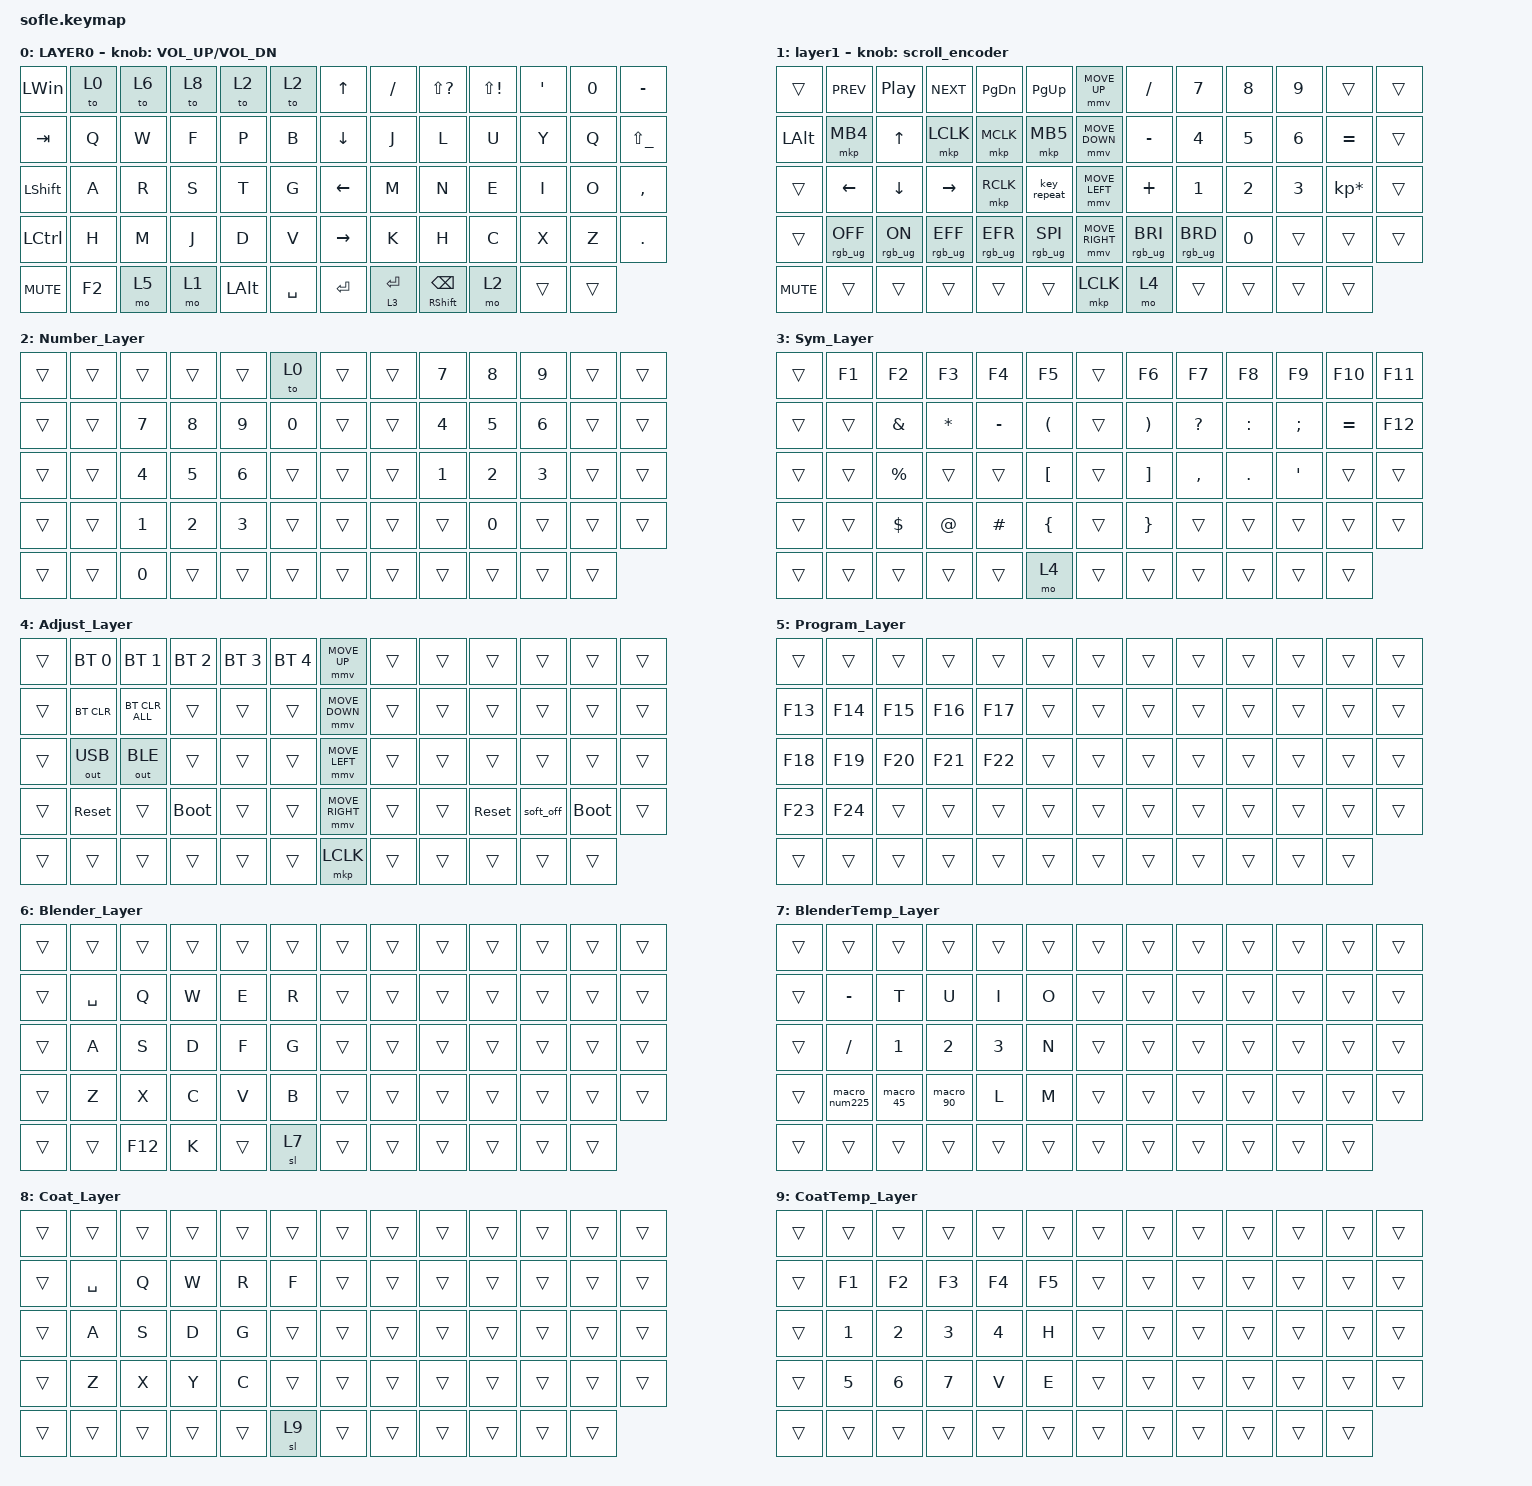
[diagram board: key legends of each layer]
#include <behaviors/mouse_keys.dtsi>
#include <behaviors.dtsi>
#include <dt-bindings/zmk/bt.h>
#include <dt-bindings/zmk/keys.h>
#include <dt-bindings/zmk/mouse.h>
#include <dt-bindings/zmk/outputs.h>
#include <dt-bindings/zmk/rgb.h>

#define ZMK_MOUSE_DEFAULT_MOVE_VAL 1200  // 600
#define ZMK_MOUSE_DEFAULT_SCRL_VAL 20    // 10
#define U_MS_U &mmv MOVE_UP
#define U_MS_D &mmv MOVE_DOWN
#define U_MS_L &mmv MOVE_LEFT
#define U_MS_R &mmv MOVE_RIGHT
#define ZMK_MOUSE_DEFAULT_MOVE_VAL 1200  //  600
#define ZMK_MOUSE_DEFAULT_SCRL_VAL 20    // 10

&sl { /delete-property/ quick-release; };

/ {
    behaviors {
        mmv {
            acceleration-exponent = <1>;      // 1
            time-to-max-speed-ms = <900>;    // 40
            delay-ms = <0>;                   // 0
        };

        msc {
            acceleration-exponent = <1>;      // 0
            time-to-max-speed-ms = <400>;      // 500
            delay-ms = <0>;                   //   10
        };
    };

    scroll_encoder: scroll_encoder {
        compatible = "zmk,behavior-sensor-rotate";
        #sensor-binding-cells = <0>;
        bindings = <&msc SCRL_DOWN>, <&msc SCRL_UP>;

        tap-ms = <30>;
    };

    ct_CustomTap: ct_CustomTap {
        compatible = "zmk,behavior-hold-tap";
        label = "CT_CUSTOMTAP";
        bindings = <&kp>, <&kp>;

        #binding-cells = <2>;
        tapping-term-ms = <200>;
        quick-tap-ms = <150>;
        require-prior-idle-ms = <100>;
        flavor = "balanced";
    };

    combos {
        compatible = "zmk,combos";

        combo_escape {
            bindings = <&kp ESCAPE>;
            key-positions = <14 15>;
            timeout-ms = <35>;
        };

        combo_bkspc {
            bindings = <&kp BACKSPACE>;
            key-positions = <16 17>;
            timeout-ms = <35>;
        };

        combo_ctrlbkspc {
            bindings = <&macro_ctrlbkspc>;
            key-positions = <16 15>;
            timeout-ms = <35>;
        };

        combo_delete {
            bindings = <&kp DELETE>;
            key-positions = <18 17>;
            timeout-ms = <35>;
        };

        combo_ctrlz {
            bindings = <&macro_ctrlz>;
            key-positions = <40 39>;
            timeout-ms = <35>;
        };

        combo_ctrlx {
            bindings = <&macro_ctrlx>;
            key-positions = <41 40>;
            timeout-ms = <35>;
        };

        combo_ctrlc {
            bindings = <&macro_ctrlc>;
            key-positions = <42 41>;
            timeout-ms = <35>;
        };

        combo_ctrlv {
            bindings = <&macro_ctrlv>;
            key-positions = <42 40>;
            timeout-ms = <35>;
        };

        combo_ctrlshftz {
            bindings = <&macro_ctrlshftz>;
            key-positions = <40 57 39>;
            timeout-ms = <35>;
        };

        combo_ctrlshftc {
            bindings = <&macro_ctrlshftc>;
            key-positions = <42 57 41>;
            timeout-ms = <35>;
        };

        combo_ctrlshftv {
            bindings = <&macro_ctrlshftv>;
            key-positions = <57 40 42>;
            timeout-ms = <35>;
        };

        combo_pauseprint {
            bindings = <&kp PAUSE_BREAK>;
            key-positions = <29 18>;
            timeout-ms = <35>;
        };

        combo_comma {
            bindings = <&kp COMMA>;
            key-positions = <34 35>;
            timeout-ms = <35>;
        };

        combo_fullstop {
            bindings = <&kp PERIOD>;
            key-positions = <35 36>;
            timeout-ms = <35>;
        };

        combo_dash {
            bindings = <&kp MINUS>;
            key-positions = <48 49>;
            timeout-ms = <35>;
        };

        combo_underscore {
            bindings = <&kp UNDER>;
            key-positions = <47 49>;
            timeout-ms = <35>;
        };

        combo_colon {
            bindings = <&kp COLON>;
            key-positions = <34 36>;
            timeout-ms = <35>;
        };

        combo_ctrlo {
            bindings = <&macro_ctrlo>;
            key-positions = <39 31>;
            timeout-ms = <35>;
        };

        combo_ctrln {
            bindings = <&macro_ctrln>;
            key-positions = <39 18>;
        };

        combo_return {
            bindings = <&kp RETURN>;
            key-positions = <31 29>;
            timeout-ms = <35>;
        };

        combo_newwindow {
            bindings = <&macro_newwindow>;
            key-positions = <14 18>;
            timeout-ms = <35>;
        };
    };

    macros {
        macro_ctrlz: macro_ctrlz {
            compatible = "zmk,behavior-macro";
            #binding-cells = <0>;
            bindings =
                <&macro_press>,
                <&kp LCTRL>,
                <&macro_tap>,
                <&kp Z>,
                <&macro_release>,
                <&kp LCTRL>;

            label = "MACRO_CTRLZ";
        };

        macro_ctrlx: macro_ctrlx {
            compatible = "zmk,behavior-macro";
            #binding-cells = <0>;
            bindings =
                <&macro_press>,
                <&kp LCTRL>,
                <&macro_tap>,
                <&kp X>,
                <&macro_release>,
                <&kp LCTRL>;

            label = "MACRO_CTRLX";
        };

        macro_ctrlc: macro_ctrlc {
            compatible = "zmk,behavior-macro";
            #binding-cells = <0>;
            bindings =
                <&macro_press>,
                <&kp LCTRL>,
                <&macro_tap>,
                <&kp C>,
                <&macro_release>,
                <&kp LCTRL>;

            label = "MACRO_CTRLC";
        };

        macro_ctrlv: macro_ctrlv {
            compatible = "zmk,behavior-macro";
            #binding-cells = <0>;
            bindings =
                <&macro_press>,
                <&kp LCTRL>,
                <&macro_tap>,
                <&kp V>,
                <&macro_release>,
                <&kp LCTRL>;

            label = "MACRO_CTRLV";
        };

        macro_ctrlshftz: macro_ctrlshftz {
            compatible = "zmk,behavior-macro";
            #binding-cells = <0>;
            bindings =
                <&macro_press>,
                <&kp LCTRL>,
                <&macro_press>,
                <&kp LEFT_SHIFT>,
                <&macro_tap>,
                <&kp Z>,
                <&macro_release>,
                <&kp LEFT_SHIFT>,
                <&macro_release>,
                <&kp LCTRL>;

            label = "MACRO_CTRLSHFTZ";
        };

        macro_ctrlshftc: macro_ctrlshftc {
            compatible = "zmk,behavior-macro";
            #binding-cells = <0>;
            bindings =
                <&macro_press>,
                <&kp LCTRL>,
                <&macro_press>,
                <&kp LEFT_SHIFT>,
                <&macro_tap>,
                <&kp C>,
                <&macro_release>,
                <&kp LEFT_SHIFT>,
                <&macro_release>,
                <&kp LCTRL>;

            label = "MACRO_CTRLSHFTC";
        };

        macro_ctrlshftv: macro_ctrlshftv {
            compatible = "zmk,behavior-macro";
            #binding-cells = <0>;
            bindings =
                <&macro_press>,
                <&kp LCTRL>,
                <&macro_press>,
                <&kp LEFT_SHIFT>,
                <&macro_tap>,
                <&kp V>,
                <&macro_release>,
                <&kp LEFT_SHIFT>,
                <&macro_release>,
                <&kp LCTRL>;

            label = "MACRO_CTRLSHFTV";
        };

        macro_ctrlj: macro_ctrlj {
            compatible = "zmk,behavior-macro";
            #binding-cells = <0>;
            bindings =
                <&macro_press>,
                <&kp LCTRL>,
                <&macro_tap>,
                <&kp J>,
                <&macro_release>,
                <&kp LCTRL>;

            label = "MACRO_CTRLJ";
        };

        macro_ctrlo: macro_ctrlo {
            compatible = "zmk,behavior-macro";
            #binding-cells = <0>;
            bindings =
                <&macro_press>,
                <&kp LCTRL>,
                <&macro_tap>,
                <&kp O>,
                <&macro_release>,
                <&kp LCTRL>;

            label = "MACRO_CTRLO";
        };

        macro_ctrln: macro_ctrln {
            compatible = "zmk,behavior-macro";
            #binding-cells = <0>;
            bindings =
                <&macro_press>,
                <&kp LCTRL>,
                <&macro_tap>,
                <&kp N>,
                <&macro_release>,
                <&kp LCTRL>;

            label = "MACRO_CTRLN";
        };

        macro_ctrlbkspc: macro_ctrlbkspc {
            compatible = "zmk,behavior-macro";
            #binding-cells = <0>;
            bindings =
                <&macro_press>,
                <&kp LCTRL>,
                <&macro_tap>,
                <&kp BACKSPACE>,
                <&macro_release>,
                <&kp LCTRL>;

            label = "MACRO_CTRLBKSPC";
        };

        macro_num225: macro_num225 {
            compatible = "zmk,behavior-macro";
            #binding-cells = <0>;
            bindings = <&kp N2 &kp N2 &kp DOT &kp N5>;
            label = "MACRO_NUM225";
        };

        macro_45: macro_45 {
            compatible = "zmk,behavior-macro";
            #binding-cells = <0>;
            bindings = <&kp N4 &kp N5>;
            label = "MACRO_45";
        };

        macro_90: macro_90 {
            compatible = "zmk,behavior-macro";
            #binding-cells = <0>;
            bindings = <&kp N9 &kp N0>;
            label = "MACRO_90";
        };

        macro_newwindow: macro_newwindow {
            compatible = "zmk,behavior-macro";
            #binding-cells = <0>;
            bindings =
                <&macro_press>,
                <&kp LEFT_WIN>,
                <&macro_tap>,
                <&kp E>,
                <&macro_release>,
                <&kp LEFT_WIN>;

            label = "MACRO_NEWWINDOW";
        };
    };

    keymap {
        compatible = "zmk,keymap";

        Base_Layer {
            bindings = <
&kp LEFT_WIN  &to 0   &to 6  &to 8  &to 2     &to 2        &kp UP_ARROW     &kp FSLH     &kp LS(QMARK)                   &kp LS(EXCL)  &kp SQT  &kp N0  &kp MINUS
&kp TAB       &kp Q   &kp W  &kp F  &kp P     &kp B        &kp DOWN_ARROW   &kp J        &kp L                           &kp U         &kp Y    &kp Q   &kp LS(UNDER)
&kp LSHFT     &kp A   &kp R  &kp S  &kp T     &kp G        &kp LEFT_ARROW   &kp M        &kp N                           &kp E         &kp I    &kp O   &kp COMMA
&kp LCTRL     &kp H   &kp M  &kp J  &kp D     &kp V        &kp RIGHT_ARROW  &kp K        &kp H                           &kp C         &kp X    &kp Z   &kp DOT
&kp C_MUTE    &kp F2  &mo 5  &mo 1  &kp LALT  &kp SPACE    &kp ENTER        &lt 3 ENTER  &ct_CustomTap RSHIFT BACKSPACE  &mo 2         &trans   &trans
            >;

            sensor-bindings = <&inc_dec_kp C_VOLUME_UP C_VOL_DN>;
            display-name = "LAYER0";
        };

        Mouse_Layer {
            bindings = <
&trans        &kp C_PREV       &kp C_PLAY_PAUSE  &kp C_NEXT       &kp PG_DN        &kp PG_UP          &mmv MOVE_UP     &kp SLASH        &kp N7           &kp N8        &kp N9        &trans           &trans
&kp LEFT_ALT  &mkp MB4         &kp UP_ARROW      &mkp LCLK        &mkp MCLK        &mkp MB5           &mmv MOVE_DOWN   &kp MINUS        &kp NUMBER_4     &kp N5        &kp NUMBER_6  &kp EQUAL        &trans
&trans        &kp LEFT         &kp DOWN_ARROW    &kp RIGHT        &mkp RCLK        &key_repeat        &mmv MOVE_LEFT   &kp PLUS         &kp NUMBER_1     &kp NUMBER_2  &kp NUMBER_3  &kp KP_ASTERISK  &trans
&trans        &rgb_ug RGB_OFF  &rgb_ug RGB_ON    &rgb_ug RGB_EFF  &rgb_ug RGB_EFR  &rgb_ug RGB_SPI    &mmv MOVE_RIGHT  &rgb_ug RGB_BRI  &rgb_ug RGB_BRD  &kp N0        &trans        &trans           &trans
&kp C_MUTE    &trans           &trans            &trans           &trans           &trans             &mkp LCLK        &mo 4            &trans           &trans        &trans        &trans
            >;

            display-name = "layer1";
            sensor-bindings = <&scroll_encoder>;
        };

        Number_Layer {
            bindings = <
&trans  &trans  &trans  &trans  &trans  &to 0     &trans  &trans  &kp N7  &kp N8  &kp N9  &trans  &trans
&trans  &trans  &kp N7  &kp N8  &kp N9  &kp N0    &trans  &trans  &kp N4  &kp N5  &kp N6  &trans  &trans
&trans  &trans  &kp N4  &kp N5  &kp N6  &trans    &trans  &trans  &kp N1  &kp N2  &kp N3  &trans  &trans
&trans  &trans  &kp N1  &kp N2  &kp N3  &trans    &trans  &trans  &trans  &kp N0  &trans  &trans  &trans
&trans  &trans  &kp N0  &trans  &trans  &trans    &trans  &trans  &trans  &trans  &trans  &trans
            >;
        };

        Sym_Layer {
            bindings = <
&trans  &kp F1  &kp F2         &kp F3     &kp F4     &kp F5                  &trans  &kp F6                 &kp F7        &kp F8     &kp F9    &kp F10    &kp F11
&trans  &trans  &kp AMPERSAND  &kp ASTRK  &kp MINUS  &kp LEFT_PARENTHESIS    &trans  &kp RIGHT_PARENTHESIS  &kp QUESTION  &kp COLON  &kp SEMI  &kp EQUAL  &kp F12
&trans  &trans  &kp PRCNT      &trans     &trans     &kp LEFT_BRACKET        &trans  &kp RIGHT_BRACKET      &kp COMMA     &kp DOT    &kp SQT   &trans     &trans
&trans  &trans  &kp DOLLAR     &kp AT     &kp POUND  &kp LEFT_BRACE          &trans  &kp RIGHT_BRACE        &trans        &trans     &trans    &trans     &trans
&trans  &trans  &trans         &trans     &trans     &mo 4                   &trans  &trans                 &trans        &trans     &trans    &trans
            >;
        };

        Adjust_Layer {
            bindings = <
&trans  &bt BT_SEL 0  &bt BT_SEL 1    &bt BT_SEL 2  &bt BT_SEL 3  &bt BT_SEL 4    &mmv MOVE_UP     &trans  &trans  &trans      &trans     &trans       &trans
&trans  &bt BT_CLR    &bt BT_CLR_ALL  &trans        &trans        &trans          &mmv MOVE_DOWN   &trans  &trans  &trans      &trans     &trans       &trans
&trans  &out OUT_USB  &out OUT_BLE    &trans        &trans        &trans          &mmv MOVE_LEFT   &trans  &trans  &trans      &trans     &trans       &trans
&trans  &sys_reset    &trans          &bootloader   &trans        &trans          &mmv MOVE_RIGHT  &trans  &trans  &sys_reset  &soft_off  &bootloader  &trans
&trans  &trans        &trans          &trans        &trans        &trans          &mkp LCLK        &trans  &trans  &trans      &trans     &trans
            >;
        };

        Program_Layer {
            bindings = <
&trans   &trans   &trans   &trans   &trans   &trans    &trans  &trans  &trans  &trans  &trans  &trans  &trans
&kp F13  &kp F14  &kp F15  &kp F16  &kp F17  &trans    &trans  &trans  &trans  &trans  &trans  &trans  &trans
&kp F18  &kp F19  &kp F20  &kp F21  &kp F22  &trans    &trans  &trans  &trans  &trans  &trans  &trans  &trans
&kp F23  &kp F24  &trans   &trans   &trans   &trans    &trans  &trans  &trans  &trans  &trans  &trans  &trans
&trans   &trans   &trans   &trans   &trans   &trans    &trans  &trans  &trans  &trans  &trans  &trans
            >;
        };

        Blender_Layer {
            bindings = <
&trans  &trans     &trans   &trans  &trans  &trans    &trans  &trans  &trans  &trans  &trans  &trans  &trans
&trans  &kp SPACE  &kp Q    &kp W   &kp E   &kp R     &trans  &trans  &trans  &trans  &trans  &trans  &trans
&trans  &kp A      &kp S    &kp D   &kp F   &kp G     &trans  &trans  &trans  &trans  &trans  &trans  &trans
&trans  &kp Z      &kp X    &kp C   &kp V   &kp B     &trans  &trans  &trans  &trans  &trans  &trans  &trans
&trans  &trans     &kp F12  &kp K   &trans  &sl 7     &trans  &trans  &trans  &trans  &trans  &trans
            >;
        };

        BlenderTemp_Layer {
            bindings = <
&trans  &trans         &trans     &trans     &trans  &trans    &trans  &trans  &trans  &trans  &trans  &trans  &trans
&trans  &kp MINUS      &kp T      &kp U      &kp I   &kp O     &trans  &trans  &trans  &trans  &trans  &trans  &trans
&trans  &kp FSLH       &kp N1     &kp N2     &kp N3  &kp N     &trans  &trans  &trans  &trans  &trans  &trans  &trans
&trans  &macro_num225  &macro_45  &macro_90  &kp L   &kp M     &trans  &trans  &trans  &trans  &trans  &trans  &trans
&trans  &trans         &trans     &trans     &trans  &trans    &trans  &trans  &trans  &trans  &trans  &trans
            >;
        };

        Coat_Layer {
            bindings = <
&trans  &trans     &trans  &trans  &trans  &trans    &trans  &trans  &trans  &trans  &trans  &trans  &trans
&trans  &kp SPACE  &kp Q   &kp W   &kp R   &kp F     &trans  &trans  &trans  &trans  &trans  &trans  &trans
&trans  &kp A      &kp S   &kp D   &kp G   &trans    &trans  &trans  &trans  &trans  &trans  &trans  &trans
&trans  &kp Z      &kp X   &kp Y   &kp C   &trans    &trans  &trans  &trans  &trans  &trans  &trans  &trans
&trans  &trans     &trans  &trans  &trans  &sl 9     &trans  &trans  &trans  &trans  &trans  &trans
            >;
        };

        CoatTemp_Layer {
            bindings = <
&trans  &trans  &trans  &trans  &trans  &trans    &trans  &trans  &trans  &trans  &trans  &trans  &trans
&trans  &kp F1  &kp F2  &kp F3  &kp F4  &kp F5    &trans  &trans  &trans  &trans  &trans  &trans  &trans
&trans  &kp N1  &kp N2  &kp N3  &kp N4  &kp H     &trans  &trans  &trans  &trans  &trans  &trans  &trans
&trans  &kp N5  &kp N6  &kp N7  &kp V   &kp E     &trans  &trans  &trans  &trans  &trans  &trans  &trans
&trans  &trans  &trans  &trans  &trans  &trans    &trans  &trans  &trans  &trans  &trans  &trans
            >;
        };
    };
};
